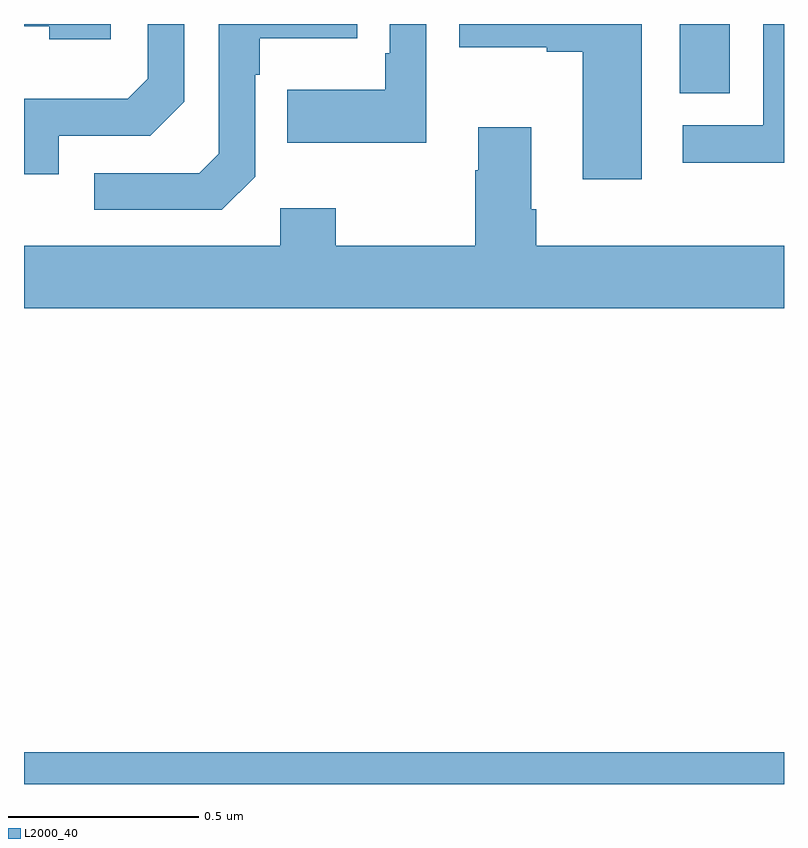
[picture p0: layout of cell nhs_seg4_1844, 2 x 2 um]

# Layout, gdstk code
import gdstk
lib = gdstk.Library(unit=1e-6, precision=1e-09)
def R(c, l, rs):  # rectangles x0, y0, x1, y1
    for r in rs: c.add(gdstk.rectangle(r[:2], r[2:], *l))
def P(c, l, *ps):  # polygons
    for p in ps: c.add(gdstk.Polygon(p, *l))
L2000_40 = (2000, 40)

nhs_seg4_1844 = lib.new_cell('nhs_seg4_1844')
R(nhs_seg4_1844, L2000_40, [(133,796.9,135,796.984), (134.726,798.718,134.857,798.9)])
P(nhs_seg4_1844, L2000_40, [(133.608,798.498),(133.608,798.767),(133.621,798.767),(133.621,798.863),(133.877,798.863),(133.877,798.9),(133.512,798.9),(133.512,798.558),(133.461,798.507),(133.185,798.507),(133.185,798.411),(133.521,798.411)],
  [(134.058,798.9),(133.962,798.9),(133.962,798.823),(133.95,798.823),(133.95,798.727),(133.693,798.727),(133.693,798.587),(134.058,798.587)],
  [(135,798.9),(134.946,798.9),(134.946,798.633),(134.733,798.633),(134.733,798.535),(135,798.535)],
  [(133.228,798.9),(133,798.9),(133,798.894),(133.067,798.894),(133.067,798.86),(133.228,798.86)],
  [(134.626,798.9),(134.145,798.9),(134.145,798.839),(134.375,798.839),(134.375,798.827),(134.471,798.827),(134.471,798.492),(134.626,798.492)],
  [(133.092,798.606),(133.332,798.606),(133.422,798.696),(133.422,798.9),(133.326,798.9),(133.326,798.756),(133.273,798.703),(133,798.703),(133,798.504),(133.092,798.504)],
  [(135,798.316),(134.348,798.316),(134.348,798.412),(134.335,798.412),(134.335,798.628),(134.195,798.628),(134.195,798.515),(134.188,798.515),(134.188,798.316),(133.821,798.316),(133.821,798.415),(133.674,798.415),(133.674,798.316),(133,798.316),(133,798.152),(135,798.152)])

lib.write_gds('nhs_seg4_1844.gds')
